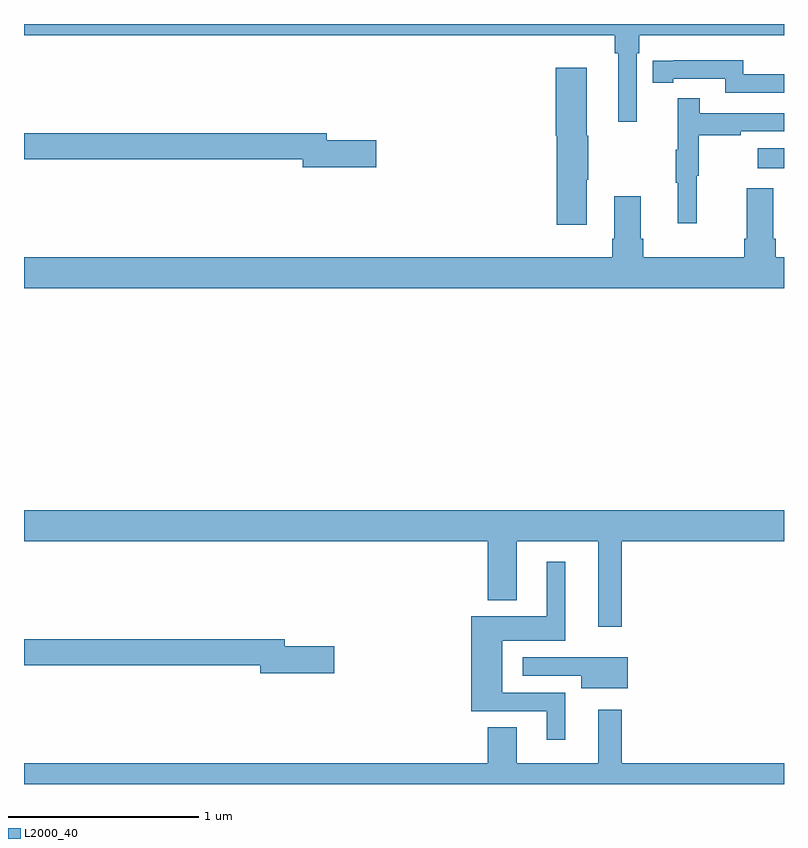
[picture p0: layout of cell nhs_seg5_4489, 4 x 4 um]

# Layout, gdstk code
import gdstk
lib = gdstk.Library(unit=1e-6, precision=1e-09)
def R(c, l, rs):  # rectangles x0, y0, x1, y1
    for r in rs: c.add(gdstk.rectangle(r[:2], r[2:], *l))
def P(c, l, *ps):  # polygons
    for p in ps: c.add(gdstk.Polygon(p, *l))
L2000_40 = (2000, 40)

nhs_seg5_4489 = lib.new_cell('nhs_seg5_4489')
R(nhs_seg5_4489, L2000_40, [(378.861,876.041,379,876.145)])
P(nhs_seg5_4489, L2000_40, [(378.225,876.644),(378.239,876.644),(378.239,876.74),(379,876.74),(379,876.799),(375,876.799),(375,876.74),(378.109,876.74),(378.109,876.644),(378.128,876.644),(378.128,876.285),(378.225,876.285)],
  [(379,876.534),(378.786,876.534),(378.786,876.607),(378.418,876.607),(378.418,876.606),(378.31,876.606),(378.31,876.49),(378.418,876.49),(378.418,876.51),(378.69,876.51),(378.69,876.438),(379,876.438)],
  [(377.962,875.98),(377.97,875.98),(377.97,876.21),(377.962,876.21),(377.962,876.568),(377.798,876.568),(377.798,876.21),(377.804,876.21),(377.804,875.742),(377.962,875.742)],
  [(378.542,876),(378.55,876),(378.55,876.214),(378.773,876.214),(378.773,876.234),(379,876.234),(379,876.33),(378.557,876.33),(378.557,876.409),(378.44,876.409),(378.44,876.137),(378.429,876.137),(378.429,875.963),(378.44,875.963),(378.44,875.751),(378.542,875.751)],
  [(376.855,876.188),(376.594,876.188),(376.594,876.224),(375,876.224),(375,876.088),(376.466,876.088),(376.466,876.046),(376.855,876.046)],
  [(379,875.572),(378.956,875.572),(378.956,875.668),(378.943,875.668),(378.943,875.935),(378.803,875.935),(378.803,875.668),(378.791,875.668),(378.791,875.572),(378.26,875.572),(378.26,875.668),(378.247,875.668),(378.247,875.893),(378.107,875.893),(378.107,875.668),(378.095,875.668),(378.095,875.572),(375,875.572),(375,875.408),(379,875.408)],
  [(378.145,874.076),(379,874.076),(379,874.24),(375,874.24),(375,874.076),(377.441,874.076),(377.441,873.767),(377.593,873.767),(377.593,874.076),(378.023,874.076),(378.023,873.627),(378.145,873.627)],
  [(377.848,873.279),(377.518,873.279),(377.518,873.554),(377.848,873.554),(377.848,873.97),(377.75,873.97),(377.75,873.682),(377.354,873.682),(377.354,873.183),(377.75,873.183),(377.75,873.033),(377.848,873.033)],
  [(376.633,873.524),(376.372,873.524),(376.372,873.56),(375,873.56),(375,873.424),(376.244,873.424),(376.244,873.382),(376.633,873.382)],
  [(378.178,873.466),(377.937,873.466),(377.937,873.465),(377.625,873.465),(377.625,873.369),(377.933,873.369),(377.933,873.302),(378.178,873.302)],
  [(379,872.908),(378.145,872.908),(378.145,873.19),(378.023,873.19),(378.023,872.908),(377.593,872.908),(377.593,873.098),(377.441,873.098),(377.441,872.908),(375,872.908),(375,872.799),(379,872.799)])

lib.write_gds('nhs_seg5_4489.gds')
